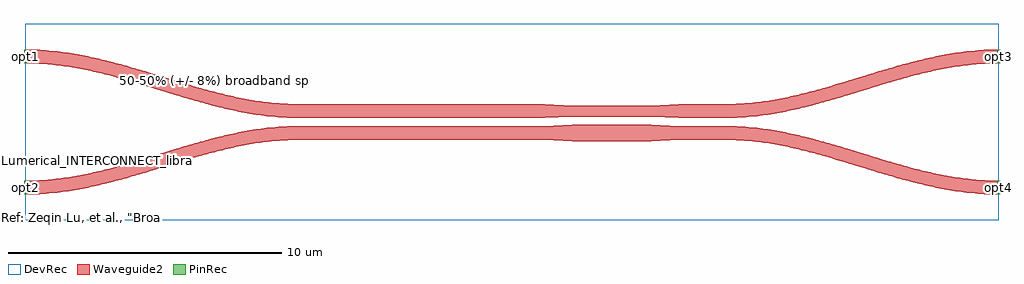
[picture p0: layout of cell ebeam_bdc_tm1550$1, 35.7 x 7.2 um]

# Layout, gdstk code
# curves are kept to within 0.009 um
import gdstk
lib = gdstk.Library(unit=1e-6, precision=1e-09)
def R(c, l, rs):  # rectangles x0, y0, x1, y1
    for r in rs: c.add(gdstk.rectangle(r[:2], r[2:], *l))
def P(c, l, *ps):  # polygons
    for p in ps: c.add(gdstk.Polygon(p, *l))
PinRec = (1, 10)
Waveguide2 = (31, 0)
DevRec = (68, 0)

ebeam_bdc_tm1550_1 = lib.new_cell('ebeam_bdc_tm1550$1')
P(ebeam_bdc_tm1550_1, Waveguide2, [(0.1,-2.65),(0.1,-2.15),(0.608,-2.136),(1.21,-2.084),(1.805,-2),(2.396,-1.887),(2.885,-1.775),(3.567,-1.596),(6.104,-0.835),(7.297,-0.515),(8.005,-0.362),(8.621,-0.259),(9.248,-0.187),(9.885,-0.152),(19.1,-0.15),(20.1,-0.1),(23,-0.1),(24,-0.15),(25.915,-0.152),(26.552,-0.187),(26.971,-0.231),(27.488,-0.307),(28.1,-0.424),(28.604,-0.54),(29.696,-0.835),(32.233,-1.596),(33.306,-1.866),(33.995,-2),(34.59,-2.084),(35.192,-2.136),(35.7,-2.15),(35.7,-2.65),(34.848,-2.613),(34.015,-2.51),(33.199,-2.354),(32.297,-2.132),(31.507,-1.907),(29.556,-1.315),(28.485,-1.025),(27.996,-0.913),(27.306,-0.784),(26.71,-0.705),(26.208,-0.664),(25.7,-0.65),(24,-0.65),(23,-0.7),(20.1,-0.7),(19.1,-0.65),(9.896,-0.652),(9.29,-0.685),(8.791,-0.74),(8.296,-0.817),(7.608,-0.956),(6.438,-1.259),(3.602,-2.105),(2.903,-2.285),(2.297,-2.418),(1.682,-2.526),(1.162,-2.593),(0.635,-2.635)],
  [(10.1,0.15),(9.565,0.165),(9.038,0.207),(8.518,0.274),(7.903,0.382),(7.297,0.515),(6.598,0.695),(3.762,1.541),(2.592,1.844),(1.904,1.983),(1.409,2.06),(0.708,2.13),(0.1,2.15),(0.1,2.65),(0.635,2.635),(1.162,2.593),(1.785,2.51),(2.5,2.376),(3.304,2.185),(3.8,2.05),(6.244,1.315),(7.12,1.074),(7.706,0.934),(8.198,0.835),(9.09,0.705),(9.592,0.664),(10.1,0.65),(19.1,0.65),(20.1,0.6),(23,0.6),(24,0.65),(25.904,0.652),(26.51,0.685),(27.009,0.74),(27.898,0.893),(28.778,1.099),(29.556,1.315),(31.901,2.022),(32.496,2.185),(33.199,2.354),(33.809,2.475),(34.429,2.569),(35.059,2.629),(35.7,2.65),(35.7,2.15),(35.192,2.136),(34.59,2.084),(33.995,2),(33.306,1.866),(32.622,1.701),(32.038,1.541),(29.795,0.864),(28.904,0.615),(27.795,0.362),(27.282,0.274),(26.762,0.207),(26.235,0.165),(25.7,0.15),(24,0.15),(23,0.2),(20.1,0.2),(19.1,0.15)])
R(ebeam_bdc_tm1550_1, DevRec, [(0.1,-3.6,35.7,3.6)])
ebeam_bdc_tm1550_1.add(gdstk.FlexPath([(0.05,2.4),(0.15,2.4)], 0.5, ends="flush", simple_path=True, layer=1, datatype=10))  # PinRec
ebeam_bdc_tm1550_1.add(gdstk.FlexPath([(0.05,-2.4),(0.15,-2.4)], 0.5, ends="flush", simple_path=True, layer=1, datatype=10))  # PinRec
ebeam_bdc_tm1550_1.add(gdstk.FlexPath([(35.65,2.4),(35.75,2.4)], 0.5, ends="flush", simple_path=True, layer=1, datatype=10))  # PinRec
ebeam_bdc_tm1550_1.add(gdstk.FlexPath([(35.65,-2.4),(35.75,-2.4)], 0.5, ends="flush", simple_path=True, layer=1, datatype=10))  # PinRec
ebeam_bdc_tm1550_1.add(gdstk.Label('opt1', (0.1,2.4), layer=1, texttype=10))
ebeam_bdc_tm1550_1.add(gdstk.Label('opt2', (0.1,-2.4), layer=1, texttype=10))
ebeam_bdc_tm1550_1.add(gdstk.Label('opt3', (35.7,2.4), layer=1, texttype=10))
ebeam_bdc_tm1550_1.add(gdstk.Label('opt4', (35.7,-2.4), layer=1, texttype=10))
ebeam_bdc_tm1550_1.add(gdstk.Label('Lumerical_INTERCONNECT_library=Design kits/Not_Available', (1.54,-1.39), layer=68, texttype=0))
ebeam_bdc_tm1550_1.add(gdstk.Label('Ref: Zeqin Lu, et al., "Broadband silicon photonic directional coupler using asymmetric-waveguide based phase control," Optics Express, 2015', (0.2,-3.5), layer=68, texttype=0))
ebeam_bdc_tm1550_1.add(gdstk.Label('50-50% (+/- 8%) broadband splitter, 1550 nm, TM', (7,1.5), layer=68, texttype=0))

lib.write_gds('ebeam_bdc_tm1550_1.gds')
